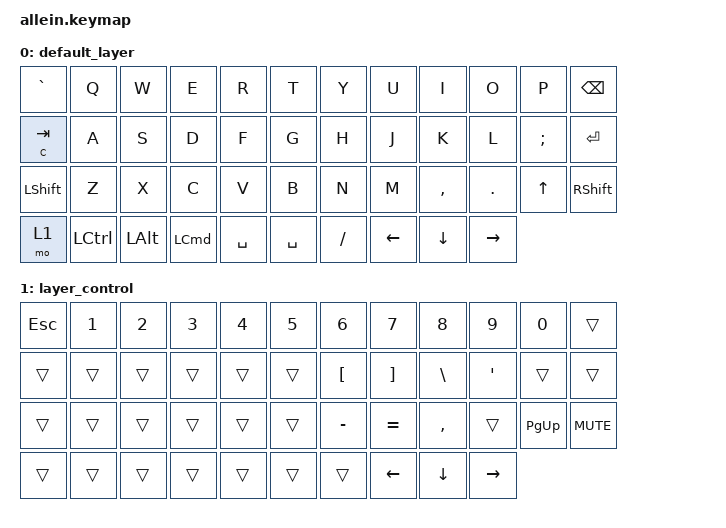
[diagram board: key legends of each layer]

/*
 * Copyright (c) 2020 The ZMK Contributors
 *
 * SPDX-License-Identifier: MIT
 */


/* THIS FILE WAS GENERATED!
 *
 * This file was generated automatically. You may or may not want to
 * edit it directly.
 */

#include <behaviors.dtsi>
#include <dt-bindings/zmk/keys.h>
#include <dt-bindings/zmk/behavior-hold-tap.h>

/ {
    keymap {
        compatible = "zmk,keymap";


        default_layer {
            bindings = <
  &kp GRAVE             &kp Q         &kp W             &kp E      &kp R      &kp T      &kp Y           &kp U           &kp I            &kp O         &kp P  &kp BACKSPACE
  &ht C TAB             &kp A         &kp S             &kp D      &kp F      &kp G      &kp H           &kp J           &kp K            &kp L      &kp SEMI      &kp ENTER
 &kp LSHIFT             &kp Z         &kp X             &kp C      &kp V      &kp B      &kp N           &kp M       &kp COMMA          &kp DOT  &kp UP_ARROW     &kp RSHIFT
      &mo 1  &kp LEFT_CONTROL  &kp LEFT_ALT  &kp LEFT_COMMAND  &kp SPACE  &kp SPACE  &kp SLASH  &kp LEFT_ARROW  &kp DOWN_ARROW  &kp RIGHT_ARROW
            >;
        };

        layer_control {
            bindings = <
 &kp ESC  &kp N1  &kp N2  &kp N3  &kp N4  &kp N5            &kp N6             &kp N7          &kp N8            &kp N9       &kp N0      &trans
  &trans  &trans  &trans  &trans  &trans  &trans  &kp LEFT_BRACKET  &kp RIGHT_BRACKET   &kp BACKSLASH  &kp SINGLE_QUOTE       &trans      &trans
  &trans  &trans  &trans  &trans  &trans  &trans         &kp MINUS          &kp EQUAL       &kp COMMA            &trans  &kp PAGE_UP  &kp K_MUTE
  &trans  &trans  &trans  &trans  &trans  &trans            &trans     &kp LEFT_ARROW  &kp DOWN_ARROW   &kp RIGHT_ARROW
            >;
        };

    };
};
